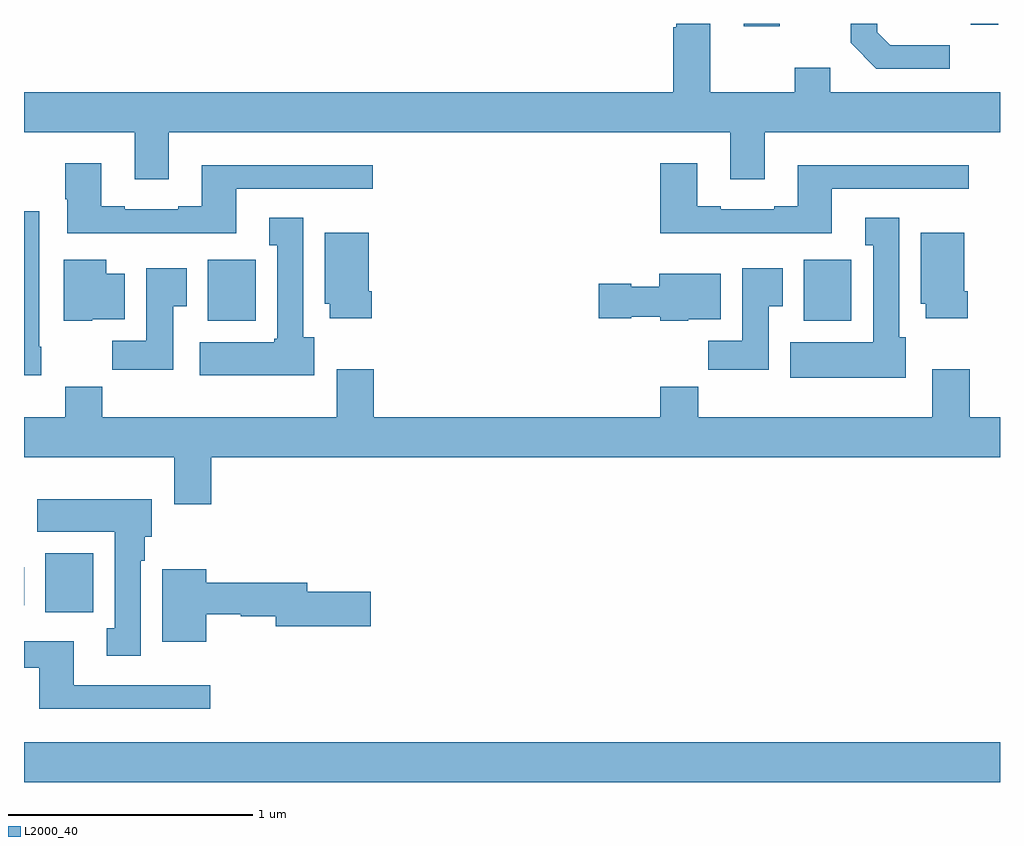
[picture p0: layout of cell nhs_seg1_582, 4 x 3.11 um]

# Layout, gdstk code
import gdstk
lib = gdstk.Library(unit=1e-6, precision=1e-09)
def R(c, l, rs):  # rectangles x0, y0, x1, y1
    for r in rs: c.add(gdstk.rectangle(r[:2], r[2:], *l))
def P(c, l, *ps):  # polygons
    for p in ps: c.add(gdstk.Polygon(p, *l))
L2000_40 = (2000, 40)

nhs_seg1_582 = lib.new_cell('nhs_seg1_582')
R(nhs_seg1_582, L2000_40, [(143,525.092,147,525.256), (143.087,525.788,143.284,526.03), (143,525.816,143.002,525.972), (143.753,526.982,143.949,527.233), (146.195,526.982,146.391,527.233), (145.949,528.189,146.098,528.199), (146.881,528.196,146.993,528.199)])
P(nhs_seg1_582, L2000_40, [(143.593,527.756),(145.895,527.756),(145.895,527.562),(146.035,527.562),(146.035,527.756),(147,527.756),(147,527.92),(146.305,527.92),(146.305,528.019),(146.158,528.019),(146.158,527.92),(145.813,527.92),(145.813,528.199),(145.673,528.199),(145.673,528.185),(145.661,528.185),(145.661,527.92),(143,527.92),(143,527.756),(143.453,527.756),(143.453,527.562),(143.593,527.562)],
  [(146.794,528.111),(146.55,528.111),(146.496,528.165),(146.496,528.199),(146.388,528.199),(146.388,528.121),(146.493,528.015),(146.794,528.015)],
  [(146.311,527.523),(146.872,527.523),(146.872,527.62),(146.171,527.62),(146.171,527.452),(146.075,527.452),(146.075,527.439),(145.855,527.439),(145.855,527.452),(145.759,527.452),(145.759,527.629),(145.607,527.629),(145.607,527.342),(146.311,527.342)],
  [(143.869,527.523),(144.43,527.523),(144.43,527.62),(143.729,527.62),(143.729,527.452),(143.633,527.452),(143.633,527.439),(143.413,527.439),(143.413,527.452),(143.317,527.452),(143.317,527.629),(143.17,527.629),(143.17,527.481),(143.177,527.481),(143.177,527.342),(143.869,527.342)],
  [(143.07,526.876),(143.062,526.876),(143.062,527.431),(143,527.431),(143,526.76),(143.07,526.76)],
  [(146.614,526.914),(146.587,526.914),(146.587,527.404),(146.447,527.404),(146.447,527.291),(146.48,527.291),(146.48,526.894),(146.141,526.894),(146.141,526.748),(146.614,526.748)],
  [(144.19,526.914),(144.145,526.914),(144.145,527.404),(144.005,527.404),(144.005,527.291),(144.038,527.291),(144.038,526.908),(144.025,526.908),(144.025,526.894),(143.721,526.894),(143.721,526.76),(144.19,526.76)],
  [(146.867,527.104),(146.854,527.104),(146.854,527.344),(146.675,527.344),(146.675,527.052),(146.696,527.052),(146.696,526.992),(146.867,526.992)],
  [(144.425,527.104),(144.412,527.104),(144.412,527.344),(144.233,527.344),(144.233,527.052),(144.254,527.052),(144.254,526.992),(144.425,526.992)],
  [(143.28,526.988),(143.413,526.988),(143.413,527.176),(143.338,527.176),(143.338,527.233),(143.162,527.233),(143.162,526.982),(143.28,526.982)],
  [(146.053,527.041),(146.11,527.041),(146.11,527.197),(145.943,527.197),(145.943,526.9),(145.804,526.9),(145.804,526.782),(146.053,526.782)],
  [(143.611,527.041),(143.668,527.041),(143.668,527.197),(143.501,527.197),(143.501,526.9),(143.362,526.9),(143.362,526.782),(143.611,526.782)],
  [(145.722,526.988),(145.855,526.988),(145.855,527.176),(145.604,527.176),(145.604,527.122),(145.488,527.122),(145.488,527.135),(145.356,527.135),(145.356,526.993),(145.488,526.993),(145.488,527),(145.608,527),(145.608,526.982),(145.722,526.982)],
  [(143.615,526.23),(143.768,526.23),(143.768,526.424),(147,526.424),(147,526.588),(146.876,526.588),(146.876,526.783),(146.723,526.783),(146.723,526.588),(145.763,526.588),(145.763,526.712),(145.607,526.712),(145.607,526.588),(144.434,526.588),(144.434,526.783),(144.281,526.783),(144.281,526.588),(143.321,526.588),(143.321,526.712),(143.17,526.712),(143.17,526.588),(143,526.588),(143,526.424),(143.615,526.424)],
  [(143.479,525.998),(143.494,525.998),(143.494,526.098),(143.524,526.098),(143.524,526.252),(143.055,526.252),(143.055,526.118),(143.372,526.118),(143.372,525.722),(143.339,525.722),(143.339,525.609),(143.479,525.609)],
  [(143.746,525.78),(143.889,525.78),(143.889,525.772),(144.032,525.772),(144.032,525.73),(144.421,525.73),(144.421,525.872),(144.16,525.872),(144.16,525.908),(143.746,525.908),(143.746,525.964),(143.567,525.964),(143.567,525.668),(143.746,525.668)],
  [(143.764,525.489),(143.203,525.489),(143.203,525.67),(143,525.67),(143,525.561),(143.063,525.561),(143.063,525.392),(143.764,525.392)])

lib.write_gds('nhs_seg1_582.gds')
